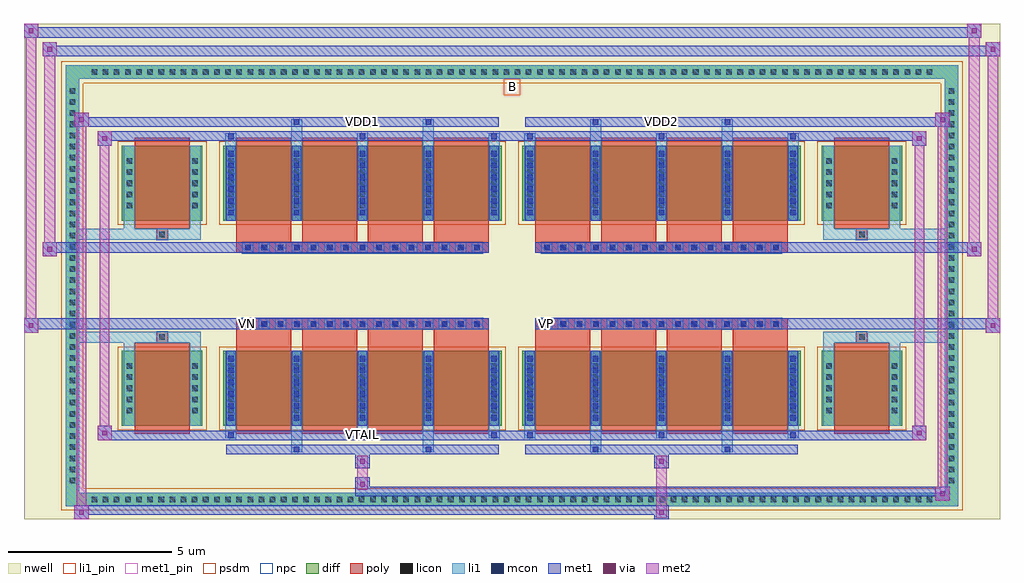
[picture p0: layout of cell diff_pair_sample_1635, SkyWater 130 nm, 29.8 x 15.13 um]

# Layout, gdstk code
import gdstk
lib = gdstk.Library(unit=1e-6, precision=5e-09)
def R(c, l, rs):  # rectangles x0, y0, x1, y1
    for r in rs: c.add(gdstk.rectangle(r[:2], r[2:], *l))
def A(c, l, x, y, w, h, nx, ny, dx, dy):  # array of equal rectangles
    R(c, l, [(x+i*dx, y+j*dy, x+i*dx+w, y+j*dy+h) for i in range(nx) for j in range(ny)])
def P(c, l, *ps):  # polygons
    for p in ps: c.add(gdstk.Polygon(p, *l))
nwell = (64, 20)
diff = (65, 20)
poly = (66, 20)
licon = (66, 44)
li1_pin = (67, 16)
li1 = (67, 20)
mcon = (67, 44)
met1_pin = (68, 16)
met1 = (68, 20)
via = (68, 44)
met2 = (69, 20)
psdm = (94, 20)
npc = (95, 20)

diff_pair_sample_1635 = lib.new_cell('diff_pair_sample_1635')
R(diff_pair_sample_1635, nwell, [(-14.9,-7.13,14.9,8), (-12.22,-5.32,-0.01,-0.8), (0.01,-5.32,12.22,-0.8), (-12.22,0.8,-0.01,5.32), (0.01,0.8,12.22,5.32)])
A(diff_pair_sample_1635, diff, -12.955, -6.73, 0.41, 0.41, 76, 2, 0.34, 13.05)
A(diff_pair_sample_1635, diff, -13.63, -6.155, 0.41, 0.41, 1, 36, 0, 0.34)
A(diff_pair_sample_1635, diff, 13.22, -6.155, 0.41, 0.41, 1, 36, 0, 0.34)
R(diff_pair_sample_1635, diff, [(-12.955,-6.73,12.955,-6.32), (-13.63,-6.155,-13.22,6.155), (13.22,-6.155,13.63,6.155), (-11.91,-4.275,-9.45,-1.985), (-8.81,-4.275,-0.32,-1.985), (0.32,-4.275,8.81,-1.985), (9.45,-4.275,11.91,-1.985), (-11.91,1.985,-9.45,4.275), (-8.81,1.985,-0.32,4.275), (0.32,1.985,8.81,4.275), (9.45,1.985,11.91,4.275), (-12.955,6.32,12.955,6.73)])
P(diff_pair_sample_1635, diff, [(13.63,6.73),(-13.63,6.73),(-13.63,-6.32),(-13.22,-6.32),(-13.22,6.32),(13.22,6.32),(13.22,-6.32),(-13.22,-6.32),(-13.63,-6.32),(-13.63,-6.73),(13.63,-6.73)])
A(diff_pair_sample_1635, poly, -8.42, -4.525, 1.68, 2.79, 4, 2, 2.01, 6.26)
A(diff_pair_sample_1635, poly, 0.71, -4.525, 1.68, 2.79, 4, 2, 2.01, 6.26)
A(diff_pair_sample_1635, poly, -8.42, -1.735, 1.68, 0.405, 4, 2, 2.01, 3.065)
A(diff_pair_sample_1635, poly, 0.71, -1.735, 1.68, 0.405, 4, 2, 2.01, 3.065)
A(diff_pair_sample_1635, poly, -8.23, -1.33, 0.33, 0.33, 15, 2, 0.5, 2.33)
A(diff_pair_sample_1635, poly, 0.9, -1.33, 0.33, 0.33, 15, 2, 0.5, 2.33)
R(diff_pair_sample_1635, poly, [(-11.52,-4.525,-9.84,-1.735), (9.84,-4.525,11.52,-1.735), (-10.845,-1.735,-10.515,-1.405), (-10.845,-1.735,-10.515,-1.405), (10.515,-1.735,10.845,-1.405), (10.515,-1.735,10.845,-1.405), (-8.42,-1.33,-0.71,-1), (0.71,-1.33,8.42,-1), (-8.42,1,-0.71,1.33), (0.71,1,8.42,1.33), (-10.845,1.405,-10.515,1.735), (-10.845,1.405,-10.515,1.735), (10.515,1.405,10.845,1.735), (10.515,1.405,10.845,1.735), (-11.52,1.735,-9.84,4.525), (9.84,1.735,11.52,4.525)])
A(diff_pair_sample_1635, licon, -12.835, -6.61, 0.17, 0.17, 76, 2, 0.34, 13.05)
A(diff_pair_sample_1635, licon, -13.51, -6.035, 0.17, 0.17, 1, 36, 0, 0.34)
A(diff_pair_sample_1635, licon, 13.34, -6.035, 0.17, 0.17, 1, 36, 0, 0.34)
A(diff_pair_sample_1635, licon, -11.77, -3.895, 0.17, 0.17, 1, 5, 0, 0.34)
A(diff_pair_sample_1635, licon, -9.76, -3.895, 0.17, 0.17, 1, 5, 0, 0.34)
A(diff_pair_sample_1635, licon, -8.67, -3.895, 0.17, 0.17, 5, 5, 2.01, 0.34)
A(diff_pair_sample_1635, licon, 0.46, -3.895, 0.17, 0.17, 5, 5, 2.01, 0.34)
A(diff_pair_sample_1635, licon, 9.59, -3.895, 0.17, 0.17, 1, 5, 0, 0.34)
A(diff_pair_sample_1635, licon, 11.6, -3.895, 0.17, 0.17, 1, 5, 0, 0.34)
A(diff_pair_sample_1635, licon, -8.15, -1.25, 0.17, 0.17, 15, 2, 0.5, 2.33)
A(diff_pair_sample_1635, licon, 0.98, -1.25, 0.17, 0.17, 15, 2, 0.5, 2.33)
A(diff_pair_sample_1635, licon, -11.77, 2.365, 0.17, 0.17, 1, 5, 0, 0.34)
A(diff_pair_sample_1635, licon, -9.76, 2.365, 0.17, 0.17, 1, 5, 0, 0.34)
A(diff_pair_sample_1635, licon, -8.67, 2.365, 0.17, 0.17, 5, 5, 2.01, 0.34)
A(diff_pair_sample_1635, licon, 0.46, 2.365, 0.17, 0.17, 5, 5, 2.01, 0.34)
A(diff_pair_sample_1635, licon, 9.59, 2.365, 0.17, 0.17, 1, 5, 0, 0.34)
A(diff_pair_sample_1635, licon, 11.6, 2.365, 0.17, 0.17, 1, 5, 0, 0.34)
R(diff_pair_sample_1635, licon, [(-10.765,-1.655,-10.595,-1.485), (10.595,-1.655,10.765,-1.485), (-10.765,1.485,-10.595,1.655), (10.595,1.485,10.765,1.655)])
R(diff_pair_sample_1635, li1_pin, [(-0.25,5.82,0.25,6.32)])
A(diff_pair_sample_1635, li1, -12.915, -6.69, 0.33, 0.33, 76, 2, 0.34, 13.05)
A(diff_pair_sample_1635, li1, -13.59, -6.115, 0.33, 0.33, 1, 36, 0, 0.34)
A(diff_pair_sample_1635, li1, 13.26, -6.115, 0.33, 0.33, 1, 36, 0, 0.34)
A(diff_pair_sample_1635, li1, -8.75, -4.65, 0.33, 0.375, 3, 2, 4.02, 8.925)
A(diff_pair_sample_1635, li1, -8.67, -4.65, 0.17, 0.17, 3, 2, 4.02, 9.13)
A(diff_pair_sample_1635, li1, 0.38, -4.65, 0.33, 0.375, 3, 2, 4.02, 8.925)
A(diff_pair_sample_1635, li1, 0.46, -4.65, 0.17, 0.17, 3, 2, 4.02, 9.13)
A(diff_pair_sample_1635, li1, -8.75, -4.275, 0.33, 2.29, 5, 2, 2.01, 6.26)
A(diff_pair_sample_1635, li1, 0.38, -4.275, 0.33, 2.29, 5, 2, 2.01, 6.26)
A(diff_pair_sample_1635, li1, -8.67, -4.115, 0.17, 0.17, 5, 6, 2.01, 0.36)
A(diff_pair_sample_1635, li1, -8.67, -4.115, 0.17, 1.97, 5, 2, 2.01, 6.26)
A(diff_pair_sample_1635, li1, 0.46, -4.115, 0.17, 0.17, 5, 6, 2.01, 0.36)
A(diff_pair_sample_1635, li1, 0.46, -4.115, 0.17, 1.97, 5, 2, 2.01, 6.26)
A(diff_pair_sample_1635, li1, -11.85, -3.975, 0.33, 0.33, 1, 5, 0, 0.34)
A(diff_pair_sample_1635, li1, -9.84, -3.975, 0.33, 0.33, 1, 5, 0, 0.34)
A(diff_pair_sample_1635, li1, -8.75, -3.975, 0.33, 0.33, 5, 5, 2.01, 0.34)
A(diff_pair_sample_1635, li1, 0.38, -3.975, 0.33, 0.33, 5, 5, 2.01, 0.34)
A(diff_pair_sample_1635, li1, 9.51, -3.975, 0.33, 0.33, 1, 5, 0, 0.34)
A(diff_pair_sample_1635, li1, 11.52, -3.975, 0.33, 0.33, 1, 5, 0, 0.34)
A(diff_pair_sample_1635, li1, -8.23, -1.33, 0.33, 0.33, 15, 2, 0.5, 2.33)
A(diff_pair_sample_1635, li1, 0.9, -1.33, 0.33, 0.33, 15, 2, 0.5, 2.33)
A(diff_pair_sample_1635, li1, -8.67, 2.145, 0.17, 0.17, 5, 6, 2.01, 0.36)
A(diff_pair_sample_1635, li1, 0.46, 2.145, 0.17, 0.17, 5, 6, 2.01, 0.36)
A(diff_pair_sample_1635, li1, -11.85, 2.285, 0.33, 0.33, 1, 5, 0, 0.34)
A(diff_pair_sample_1635, li1, -9.84, 2.285, 0.33, 0.33, 1, 5, 0, 0.34)
A(diff_pair_sample_1635, li1, -8.75, 2.285, 0.33, 0.33, 5, 5, 2.01, 0.34)
A(diff_pair_sample_1635, li1, 0.38, 2.285, 0.33, 0.33, 5, 5, 2.01, 0.34)
A(diff_pair_sample_1635, li1, 9.51, 2.285, 0.33, 0.33, 1, 5, 0, 0.34)
A(diff_pair_sample_1635, li1, 11.52, 2.285, 0.33, 0.33, 1, 5, 0, 0.34)
R(diff_pair_sample_1635, li1, [(-13.63,-6.73,-13.22,-6.32), (-13.63,-6.73,-13.22,-6.32), (-13.22,-6.73,13.22,-6.32), (13.22,-6.73,13.63,-6.32), (13.22,-6.73,13.63,-6.32), (-13.63,-6.32,-13.22,6.32), (13.22,-6.32,13.63,6.32), (-6.74,-5.08,-6.41,-4.275), (-6.66,-5.08,-6.49,-4.91), (-2.72,-5.08,-2.39,-4.275), (-2.64,-5.08,-2.47,-4.91), (2.39,-5.08,2.72,-4.275), (2.47,-5.08,2.64,-4.91), (6.41,-5.08,6.74,-4.275), (6.49,-5.08,6.66,-4.91), (-11.85,-4.275,-11.52,-1.985), (-9.84,-4.275,-9.51,-1.985), (9.51,-4.275,9.84,-1.985), (11.52,-4.275,11.85,-1.985), (-11.85,-1.985,-11.52,-1.405), (-9.84,-1.985,-9.51,-1.405), (9.51,-1.985,9.84,-1.405), (11.52,-1.985,11.85,-1.405), (-13.63,-1.735,-10.845,-1.405), (-11.85,-1.735,-10.845,-1.405), (-10.845,-1.735,-10.515,-1.405), (-10.515,-1.735,-9.51,-1.405), (9.51,-1.735,10.515,-1.405), (10.515,-1.735,10.845,-1.405), (10.515,-1.735,13.63,-1.405), (10.845,-1.735,11.85,-1.405), (-13.63,1.405,-10.845,1.735), (-11.85,1.405,-10.845,1.735), (-11.85,1.405,-11.52,1.985), (-10.845,1.405,-10.515,1.735), (-10.515,1.405,-9.51,1.735), (-9.84,1.405,-9.51,1.985), (9.51,1.405,10.515,1.735), (9.51,1.405,9.84,1.985), (10.515,1.405,10.845,1.735), (10.515,1.405,13.63,1.735), (10.845,1.405,11.85,1.735), (11.52,1.405,11.85,1.985), (-11.85,1.985,-11.52,4.275), (-9.84,1.985,-9.51,4.275), (9.51,1.985,9.84,4.275), (11.52,1.985,11.85,4.275), (-6.74,4.275,-6.41,5.08), (-2.72,4.275,-2.39,5.08), (2.39,4.275,2.72,5.08), (6.41,4.275,6.74,5.08), (-6.66,4.91,-6.49,5.08), (-2.64,4.91,-2.47,5.08), (2.47,4.91,2.64,5.08), (6.49,4.91,6.66,5.08), (-13.63,6.32,-13.22,6.73), (-13.63,6.32,-13.22,6.73), (-13.22,6.32,13.22,6.73), (13.22,6.32,13.63,6.73), (13.22,6.32,13.63,6.73)])
A(diff_pair_sample_1635, mcon, -8.67, -4.65, 0.17, 0.17, 3, 2, 4.02, 9.13)
A(diff_pair_sample_1635, mcon, 0.46, -4.65, 0.17, 0.17, 3, 2, 4.02, 9.13)
A(diff_pair_sample_1635, mcon, -8.67, -4.115, 0.17, 0.17, 5, 6, 2.01, 0.36)
A(diff_pair_sample_1635, mcon, 0.46, -4.115, 0.17, 0.17, 5, 6, 2.01, 0.36)
A(diff_pair_sample_1635, mcon, -8.15, -1.25, 0.17, 0.17, 15, 2, 0.5, 2.33)
A(diff_pair_sample_1635, mcon, 0.98, -1.25, 0.17, 0.17, 15, 2, 0.5, 2.33)
A(diff_pair_sample_1635, mcon, -8.67, 2.145, 0.17, 0.17, 5, 6, 2.01, 0.36)
A(diff_pair_sample_1635, mcon, 0.46, 2.145, 0.17, 0.17, 5, 6, 2.01, 0.36)
R(diff_pair_sample_1635, mcon, [(-6.66,-5.08,-6.49,-4.91), (-2.64,-5.08,-2.47,-4.91), (2.47,-5.08,2.64,-4.91), (6.49,-5.08,6.66,-4.91), (-6.66,4.91,-6.49,5.08), (-2.64,4.91,-2.47,5.08), (2.47,4.91,2.64,5.08), (6.49,4.91,6.66,5.08)])
R(diff_pair_sample_1635, met1_pin, [(-4.7,-4.69,-4.43,-4.42), (-8.2,-1.29,-7.93,-1.02), (0.93,-1.29,1.2,-1.02), (-4.7,4.87,-4.43,5.14), (4.43,4.87,4.7,5.14)])
A(diff_pair_sample_1635, met1, -8.73, -4.71, 0.29, 0.29, 3, 2, 4.02, 9.13)
A(diff_pair_sample_1635, met1, 0.4, -4.71, 0.29, 0.29, 3, 2, 4.02, 9.13)
A(diff_pair_sample_1635, met1, -8.73, -4.275, 0.29, 2.29, 5, 2, 2.01, 6.26)
A(diff_pair_sample_1635, met1, 0.4, -4.275, 0.29, 2.29, 5, 2, 2.01, 6.26)
A(diff_pair_sample_1635, met1, -8.73, -4.175, 0.29, 0.29, 5, 6, 2.01, 0.36)
A(diff_pair_sample_1635, met1, 0.4, -4.175, 0.29, 0.29, 5, 6, 2.01, 0.36)
A(diff_pair_sample_1635, met1, -8.21, -1.31, 0.29, 0.29, 15, 2, 0.5, 2.33)
A(diff_pair_sample_1635, met1, 0.92, -1.31, 0.29, 0.29, 15, 2, 0.5, 2.33)
A(diff_pair_sample_1635, met1, -8.73, 2.085, 0.29, 0.29, 5, 6, 2.01, 0.36)
A(diff_pair_sample_1635, met1, 0.4, 2.085, 0.29, 0.29, 5, 6, 2.01, 0.36)
R(diff_pair_sample_1635, met1, [(-13.36,-7.13,-12.93,-6.7), (4.35,-7.13,4.78,-6.7), (-13.36,-6.99,4.78,-6.7), (12.93,-6.56,13.36,-6.13), (-4.78,-6.42,13.36,-6.13), (-4.78,-6.28,-4.35,-5.85), (-4.78,-5.57,-4.35,-5.14), (4.35,-5.57,4.78,-5.14), (-8.73,-5.14,-0.4,-4.85), (-6.72,-5.14,-6.43,-4.85), (-2.7,-5.14,-2.41,-4.85), (0.4,-5.14,8.73,-4.85), (2.41,-5.14,2.7,-4.85), (6.43,-5.14,6.72,-4.85), (-12.65,-4.71,-12.22,-4.28), (-12.65,-4.71,-8.73,-4.42), (-8.73,-4.71,-0.4,-4.42), (-0.4,-4.71,0.4,-4.42), (0.4,-4.71,8.73,-4.42), (8.73,-4.71,12.65,-4.42), (12.22,-4.71,12.65,-4.28), (-14.9,-1.43,-14.47,-1), (14.47,-1.43,14.9,-1), (-14.9,-1.33,-0.71,-1), (-8.42,-1.33,-0.71,-1), (0.71,-1.33,8.42,-1), (0.71,-1.33,14.9,-1), (-14.33,0.9,-13.9,1.33), (13.9,0.9,14.33,1.33), (-14.33,1,-8.42,1.33), (-8.42,1,-0.71,1.33), (0.71,1,8.42,1.33), (8.42,1,14.33,1.33), (-12.65,4.28,-12.22,4.71), (12.22,4.28,12.65,4.71), (-12.65,4.42,-8.73,4.71), (-8.73,4.42,-0.4,4.71), (-0.4,4.42,0.4,4.71), (0.4,4.42,8.73,4.71), (8.73,4.42,12.65,4.71), (-13.36,4.85,-12.93,5.28), (-13.36,4.85,-8.73,5.14), (-8.73,4.85,-0.4,5.14), (-6.72,4.85,-6.43,5.14), (-2.7,4.85,-2.41,5.14), (0.4,4.85,8.73,5.14), (2.41,4.85,2.7,5.14), (6.43,4.85,6.72,5.14), (8.73,4.85,13.36,5.14), (12.93,4.85,13.36,5.28), (-14.33,7,-13.9,7.43), (-14.33,7,-12.22,7.33), (-12.22,7,12.22,7.33), (12.22,7,14.9,7.33), (14.47,7,14.9,7.43), (-14.9,7.57,-14.47,8), (-14.9,7.57,-12.22,7.9), (-12.22,7.57,12.22,7.9), (12.22,7.57,14.33,7.9), (13.9,7.57,14.33,8)])
R(diff_pair_sample_1635, via, [(-13.22,-6.99,-13.07,-6.84), (4.49,-6.99,4.64,-6.84), (13.07,-6.42,13.22,-6.27), (-4.64,-6.14,-4.49,-5.99), (-4.64,-5.43,-4.49,-5.28), (4.49,-5.43,4.64,-5.28), (-12.51,-4.57,-12.36,-4.42), (12.36,-4.57,12.51,-4.42), (-14.76,-1.29,-14.61,-1.14), (14.61,-1.29,14.76,-1.14), (-14.19,1.04,-14.04,1.19), (14.04,1.04,14.19,1.19), (-12.51,4.42,-12.36,4.57), (12.36,4.42,12.51,4.57), (-13.22,4.99,-13.07,5.14), (13.07,4.99,13.22,5.14), (-14.19,7.14,-14.04,7.29), (14.61,7.14,14.76,7.29), (-14.76,7.71,-14.61,7.86), (14.04,7.71,14.19,7.86)])
R(diff_pair_sample_1635, met2, [(-13.36,-7.13,-12.93,-6.7), (-13.29,-7.13,-13,5.28), (-13,-7.13,-12.93,-6.7), (-13.31,-7.08,-12.98,-6.75), (4.4,-7.08,4.73,-6.75), (4.4,-6.75,4.73,-5.52), (12.93,-6.56,13.36,-6.13), (13,-6.56,13.29,5.28), (13.29,-6.56,13.36,-6.13), (12.98,-6.51,13.31,-6.18), (-4.73,-6.23,-4.4,-5.9), (-4.73,-5.9,-4.4,-5.52), (-4.73,-5.52,-4.4,-5.19), (4.4,-5.52,4.73,-5.19), (-12.65,-4.71,-12.22,-4.28), (-12.58,-4.71,-12.29,4.71), (-12.29,-4.71,-12.22,-4.28), (12.22,-4.71,12.65,-4.28), (12.29,-4.71,12.58,4.71), (12.58,-4.71,12.65,-4.28), (-12.6,-4.66,-12.27,-4.33), (12.27,-4.66,12.6,-4.33), (-14.9,-1.43,-14.47,-1), (-14.85,-1.43,-14.52,8), (-14.52,-1.43,-14.47,-1), (14.47,-1.43,14.9,-1), (14.52,-1.43,14.85,7.43), (14.85,-1.43,14.9,-1), (-14.85,-1.38,-14.52,-1.05), (14.52,-1.38,14.85,-1.05), (-14.33,0.9,-13.9,1.33), (-14.28,0.9,-13.95,7.43), (-13.95,0.9,-13.9,1.33), (13.9,0.9,14.33,1.33), (13.95,0.9,14.28,8), (14.28,0.9,14.33,1.33), (-14.28,0.95,-13.95,1.28), (13.95,0.95,14.28,1.28), (-12.65,4.28,-12.22,4.71), (-12.29,4.28,-12.22,4.71), (12.22,4.28,12.65,4.71), (12.58,4.28,12.65,4.71), (-12.6,4.33,-12.27,4.66), (12.27,4.33,12.6,4.66), (-13.36,4.85,-12.93,5.28), (-13,4.85,-12.93,5.28), (12.93,4.85,13.36,5.28), (13.29,4.85,13.36,5.28), (-13.31,4.9,-12.98,5.23), (12.98,4.9,13.31,5.23), (-14.33,7,-13.9,7.43), (-13.95,7,-13.9,7.43), (14.47,7,14.9,7.43), (14.85,7,14.9,7.43), (-14.28,7.05,-13.95,7.38), (14.52,7.05,14.85,7.38), (-14.9,7.57,-14.47,8), (-14.52,7.57,-14.47,8), (13.9,7.57,14.33,8), (14.28,7.57,14.33,8), (-14.85,7.62,-14.52,7.95), (13.95,7.62,14.28,7.95)])
R(diff_pair_sample_1635, psdm, [(-12.04,-4.405,-9.32,-1.855), (-8.94,-4.405,-0.19,-1.855), (0.19,-4.405,8.94,-1.855), (9.32,-4.405,12.04,-1.855), (-12.04,1.855,-9.32,4.405), (-8.94,1.855,-0.19,4.405), (0.19,1.855,8.94,4.405), (9.32,1.855,12.04,4.405)])
P(diff_pair_sample_1635, psdm, [(13.76,6.86),(-13.76,6.86),(-13.76,-6.19),(-13.09,-6.19),(-13.09,6.19),(13.09,6.19),(13.09,-6.19),(-13.09,-6.19),(-13.76,-6.19),(-13.76,-6.86),(13.76,-6.86)])
A(diff_pair_sample_1635, npc, -8.25, -1.35, 0.37, 0.37, 15, 2, 0.5, 2.33)
A(diff_pair_sample_1635, npc, 0.88, -1.35, 0.37, 0.37, 15, 2, 0.5, 2.33)
R(diff_pair_sample_1635, npc, [(-10.865,-1.755,-10.495,-1.385), (10.495,-1.755,10.865,-1.385), (-8.25,-1.35,-7.38,-0.98), (-8.25,-1.35,-7.38,-0.98), (-7.75,-1.35,-6.88,-0.98), (-7.75,-1.35,-6.88,-0.98), (-7.25,-1.35,-6.38,-0.98), (-7.25,-1.35,-6.38,-0.98), (-6.75,-1.35,-5.88,-0.98), (-6.75,-1.35,-5.88,-0.98), (-6.25,-1.35,-5.38,-0.98), (-6.25,-1.35,-5.38,-0.98), (-5.75,-1.35,-4.88,-0.98), (-5.75,-1.35,-4.88,-0.98), (-5.25,-1.35,-4.38,-0.98), (-5.25,-1.35,-4.38,-0.98), (-4.75,-1.35,-3.88,-0.98), (-4.75,-1.35,-3.88,-0.98), (-4.25,-1.35,-3.38,-0.98), (-4.25,-1.35,-3.38,-0.98), (-3.75,-1.35,-2.88,-0.98), (-3.75,-1.35,-2.88,-0.98), (-3.25,-1.35,-2.38,-0.98), (-3.25,-1.35,-2.38,-0.98), (-2.75,-1.35,-1.88,-0.98), (-2.75,-1.35,-1.88,-0.98), (-2.25,-1.35,-1.38,-0.98), (-2.25,-1.35,-1.38,-0.98), (-1.75,-1.35,-0.88,-0.98), (-1.75,-1.35,-0.88,-0.98), (0.88,-1.35,1.75,-0.98), (0.88,-1.35,1.75,-0.98), (1.38,-1.35,2.25,-0.98), (1.38,-1.35,2.25,-0.98), (1.88,-1.35,2.75,-0.98), (1.88,-1.35,2.75,-0.98), (2.38,-1.35,3.25,-0.98), (2.38,-1.35,3.25,-0.98), (2.88,-1.35,3.75,-0.98), (2.88,-1.35,3.75,-0.98), (3.38,-1.35,4.25,-0.98), (3.38,-1.35,4.25,-0.98), (3.88,-1.35,4.75,-0.98), (3.88,-1.35,4.75,-0.98), (4.38,-1.35,5.25,-0.98), (4.38,-1.35,5.25,-0.98), (4.88,-1.35,5.75,-0.98), (4.88,-1.35,5.75,-0.98), (5.38,-1.35,6.25,-0.98), (5.38,-1.35,6.25,-0.98), (5.88,-1.35,6.75,-0.98), (5.88,-1.35,6.75,-0.98), (6.38,-1.35,7.25,-0.98), (6.38,-1.35,7.25,-0.98), (6.88,-1.35,7.75,-0.98), (6.88,-1.35,7.75,-0.98), (7.38,-1.35,8.25,-0.98), (7.38,-1.35,8.25,-0.98), (-8.25,0.98,-7.38,1.35), (-8.25,0.98,-7.38,1.35), (-7.75,0.98,-6.88,1.35), (-7.75,0.98,-6.88,1.35), (-7.25,0.98,-6.38,1.35), (-7.25,0.98,-6.38,1.35), (-6.75,0.98,-5.88,1.35), (-6.75,0.98,-5.88,1.35), (-6.25,0.98,-5.38,1.35), (-6.25,0.98,-5.38,1.35), (-5.75,0.98,-4.88,1.35), (-5.75,0.98,-4.88,1.35), (-5.25,0.98,-4.38,1.35), (-5.25,0.98,-4.38,1.35), (-4.75,0.98,-3.88,1.35), (-4.75,0.98,-3.88,1.35), (-4.25,0.98,-3.38,1.35), (-4.25,0.98,-3.38,1.35), (-3.75,0.98,-2.88,1.35), (-3.75,0.98,-2.88,1.35), (-3.25,0.98,-2.38,1.35), (-3.25,0.98,-2.38,1.35), (-2.75,0.98,-1.88,1.35), (-2.75,0.98,-1.88,1.35), (-2.25,0.98,-1.38,1.35), (-2.25,0.98,-1.38,1.35), (-1.75,0.98,-0.88,1.35), (-1.75,0.98,-0.88,1.35), (0.88,0.98,1.75,1.35), (0.88,0.98,1.75,1.35), (1.38,0.98,2.25,1.35), (1.38,0.98,2.25,1.35), (1.88,0.98,2.75,1.35), (1.88,0.98,2.75,1.35), (2.38,0.98,3.25,1.35), (2.38,0.98,3.25,1.35), (2.88,0.98,3.75,1.35), (2.88,0.98,3.75,1.35), (3.38,0.98,4.25,1.35), (3.38,0.98,4.25,1.35), (3.88,0.98,4.75,1.35), (3.88,0.98,4.75,1.35), (4.38,0.98,5.25,1.35), (4.38,0.98,5.25,1.35), (4.88,0.98,5.75,1.35), (4.88,0.98,5.75,1.35), (5.38,0.98,6.25,1.35), (5.38,0.98,6.25,1.35), (5.88,0.98,6.75,1.35), (5.88,0.98,6.75,1.35), (6.38,0.98,7.25,1.35), (6.38,0.98,7.25,1.35), (6.88,0.98,7.75,1.35), (6.88,0.98,7.75,1.35), (7.38,0.98,8.25,1.35), (7.38,0.98,8.25,1.35), (-10.865,1.385,-10.495,1.755), (10.495,1.385,10.865,1.755)])
diff_pair_sample_1635.add(gdstk.Label('VTAIL', (-4.565,-4.555), layer=68, texttype=5))
diff_pair_sample_1635.add(gdstk.Label('VN', (-8.065,-1.155), layer=68, texttype=5))
diff_pair_sample_1635.add(gdstk.Label('VP', (1.065,-1.155), layer=68, texttype=5))
diff_pair_sample_1635.add(gdstk.Label('B', (0,6.07), layer=67, texttype=5))
diff_pair_sample_1635.add(gdstk.Label('VDD2', (4.565,5.005), layer=68, texttype=5))
diff_pair_sample_1635.add(gdstk.Label('VDD1', (-4.565,5.005), layer=68, texttype=5))

lib.write_gds('diff_pair_sample_1635.gds')
